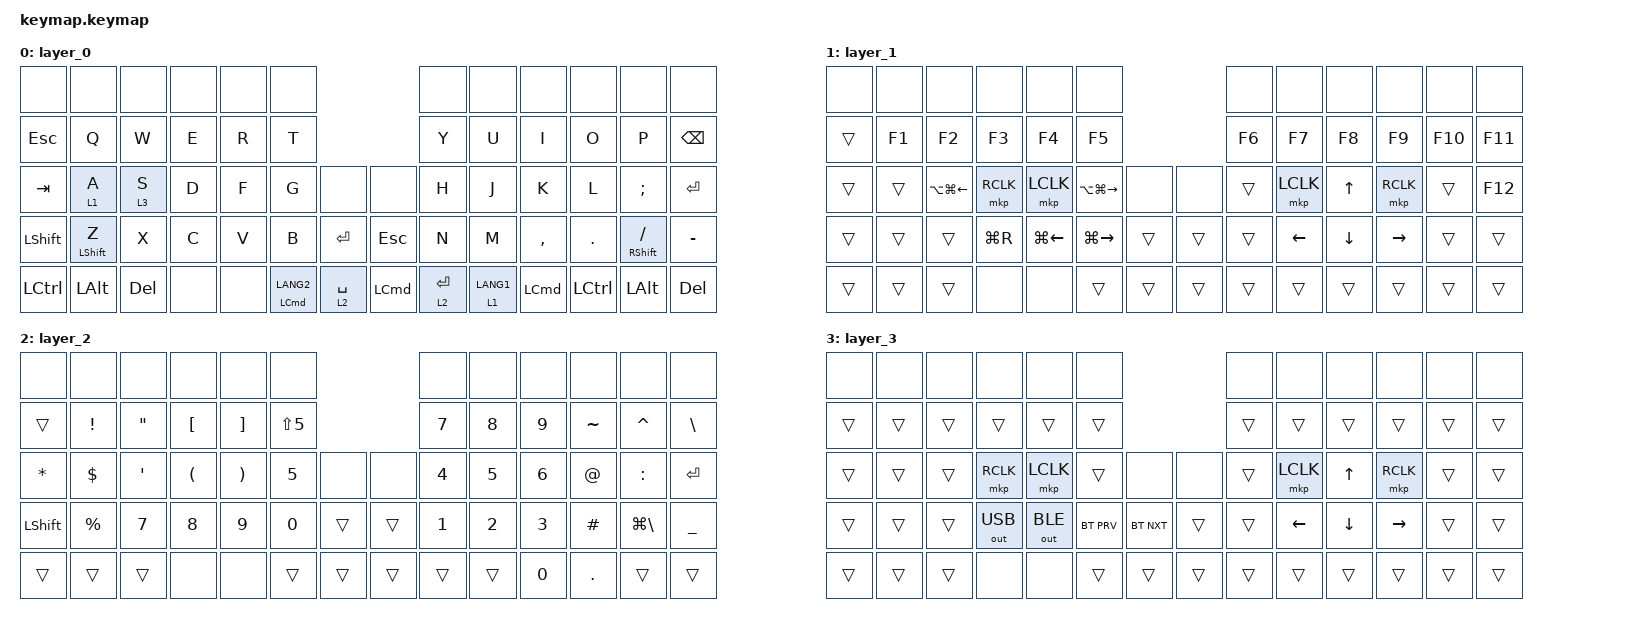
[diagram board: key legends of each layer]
#include <behaviors.dtsi>
#include <dt-bindings/zmk/bt.h>
#include <dt-bindings/zmk/keys.h>
#include <dt-bindings/zmk/outputs.h>
#include <dt-bindings/zmk/pointing.h>
#include <input/processors.dtsi>
#include <dt-bindings/zmk/input_transform.h>

/ {
    combos {
        compatible = "zmk,combos";
        bt_clear {
            bindings = <&bt BT_CLR>;
            key-positions = <28 29>;
            layers = <2>;
        };
    };

    keymap {
        compatible = "zmk,keymap";

        layer_0 {
            bindings = <
&none       &none             &none       &none  &none  &none                                                  &none        &none        &none             &none             &none                 &none
&kp ESCAPE  &kp Q             &kp W       &kp E  &kp R  &kp T                                                  &kp Y        &kp U        &kp I             &kp O             &kp P                 &kp BSPC
&kp TAB     &lt 1 A           &lt 3 S     &kp D  &kp F  &kp G                   &none        &none             &kp H        &kp J        &kp K             &kp L             &kp SEMI              &kp RETURN
&kp LSHFT   &mt LEFT_SHIFT Z  &kp X       &kp C  &kp V  &kp B                   &kp RETURN   &kp ESCAPE        &kp N        &kp M        &kp COMMA         &kp DOT           &mt RIGHT_SHIFT FSLH  &kp MINUS
&kp LCTRL   &kp LEFT_ALT      &kp DELETE  &none  &none  &mt LEFT_COMMAND LANG2  &lt 2 SPACE  &kp LEFT_COMMAND  &lt 2 ENTER  &lt 1 LANG1  &kp LEFT_COMMAND  &kp LEFT_CONTROL  &kp LEFT_ALT          &kp DELETE
            >;
        };

        layer_1 {
            bindings = <
&none   &none   &none                   &none      &none               &none                                    &none   &none           &none           &none      &none    &none
&trans  &kp F1  &kp F2                  &kp F3     &kp F4              &kp F5                                   &kp F6  &kp F7          &kp F8          &kp F9     &kp F10  &kp F11
&trans  &trans  &kp LA(LG(LEFT_ARROW))  &mkp RCLK  &mkp LCLK           &kp LA(LG(RIGHT_ARROW))  &none   &none   &trans  &mkp LCLK       &kp UP_ARROW    &mkp RCLK  &trans   &kp F12
&trans  &trans  &trans                  &kp LG(R)  &kp LG(LEFT_ARROW)  &kp LG(RIGHT_ARROW)      &trans  &trans  &trans  &kp LEFT_ARROW  &kp DOWN_ARROW  &kp RIGHT  &trans   &trans
&trans  &trans  &trans                  &none      &none               &trans                   &trans  &trans  &trans  &trans          &trans          &trans     &trans   &trans
            >;
        };

        layer_2 {
            bindings = <
&none           &none            &none              &none                 &none                  &none                       &none         &none         &none         &none        &none              &none
&trans          &kp EXCLAMATION  &kp DOUBLE_QUOTES  &kp LEFT_BRACKET      &kp RIGHT_BRACKET      &kp LS(N5)                  &kp N7        &kp N8        &kp N9        &kp TILDE    &kp CARET          &kp BACKSLASH
&kp ASTERISK    &kp DOLLAR       &kp SQT            &kp LEFT_PARENTHESIS  &kp RIGHT_PARENTHESIS  &kp N5      &none   &none   &kp NUMBER_4  &kp N5        &kp NUMBER_6  &kp AT_SIGN  &kp COLON          &kp RETURN
&kp LEFT_SHIFT  &kp PERCENT      &kp N7             &kp N8                &kp N9                 &kp N0      &trans  &trans  &kp NUMBER_1  &kp NUMBER_2  &kp NUMBER_3  &kp HASH     &kp LG(BACKSLASH)  &kp UNDERSCORE
&trans          &trans           &trans             &none                 &none                  &trans      &trans  &trans  &trans        &trans        &kp N0        &kp PERIOD   &trans             &trans
            >;
        };

        layer_3 {
            bindings = <
&none   &none   &none   &none         &none         &none                           &none   &none           &none           &none            &none   &none
&trans  &trans  &trans  &trans        &trans        &trans                          &trans  &trans          &trans          &trans           &trans  &trans
&trans  &trans  &trans  &mkp RCLK     &mkp LCLK     &trans      &none       &none   &trans  &mkp LCLK       &kp UP_ARROW    &mkp RCLK        &trans  &trans
&trans  &trans  &trans  &out OUT_USB  &out OUT_BLE  &bt BT_PRV  &bt BT_NXT  &trans  &trans  &kp LEFT_ARROW  &kp DOWN_ARROW  &kp RIGHT_ARROW  &trans  &trans
&trans  &trans  &trans  &none         &none         &trans      &trans      &trans  &trans  &trans          &trans          &trans           &trans  &trans
            >;
        };
    };

    /* 1. スクロール専用リスナー */
    /* ここに直接 layers = <3>; と書くのがZMKの標準的な「レイヤー限定」方法です */
    scroll_listener {
        compatible = "zmk,input-listener";
        device = <&trackball>;
        layers = <3>; 
        input-processors = <&zip_xy_scaler 1 20>, <&zip_xy_to_scroll_mapper>;
    };
};

/* 2. 既存の移動リスナーの上書き */
&trackball_listener {
    /* Layer 3 のときはこのリスナー（移動）を無効化する */
    exclude-layers = <3>;
    input-processors = <&zip_xy_transform (INPUT_TRANSFORM_X_INVERT | INPUT_TRANSFORM_Y_INVERT)>;
};
